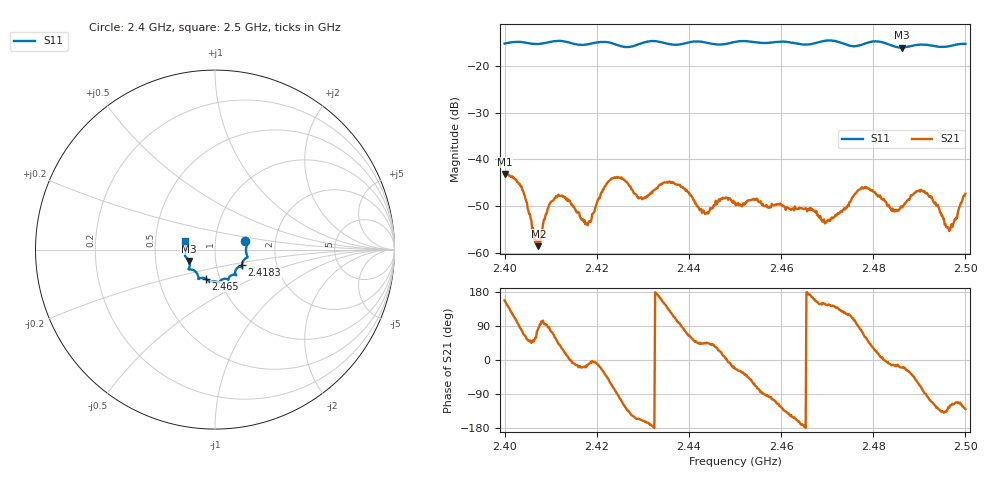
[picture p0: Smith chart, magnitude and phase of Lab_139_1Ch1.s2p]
# Hz S RI R 50
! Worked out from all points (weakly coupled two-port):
!   601 points, 2.4 GHz to 2.5 GHz, reference 50 ohm
!   highest |S21| = -43.16 dB at 2.4 GHz (marker M1); lowest = -58.6 dB at 2.4073 GHz (marker M2)
!   lowest |S11| = -16.0 dB at 2.4862 GHz (marker M3), VSWR 1.37, Z = 37.1 - j4.8 ohm
!   |S11| at or under -10 dB: start of sweep to end of sweep
!   S12 and S22 are empty: the file has one direction only
!   S11 on the Smith chart (normalised r, x): 2.4 GHz: 1.40, +0.13; 2.4183 GHz: 1.33, -0.24; 2.465 GHz: 0.86, -0.29; 2.5 GHz: 0.71, +0.07
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2.4e9  0.1687 0.0455  -0.00642 0.00267  0 0  0 0
2.403667e9  0.1791 0.0292  0.00101 0.00505  0 0  0 0
2.407333e9  0.1728 -0.00746  0.000105 0.00117  0 0  0 0
2.4095e9  0.1775 -0.0313  0.00024 0.00305  0 0  0 0
2.411333e9  0.1819 -0.0402  0.00245 0.00306  0 0  0 0
2.416667e9  0.1547 -0.0684  0.00212 -0.00077  0 0  0 0
2.418333e9  0.1497 -0.087  0.00214 -0.00038  0 0  0 0
2.423333e9  0.1472 -0.0969  0.00238 -0.00578  0 0  0 0
2.4295e9  0.113 -0.1334  -0.00359 -0.00149  0 0  0 0
2.433333e9  0.1168 -0.1413  -0.00502 0.00095  0 0  0 0
2.438167e9  0.0812 -0.1512  -0.000262 0.00514  0 0  0 0
2.443333e9  0.0707 -0.1661  0.00193 0.00191  0 0  0 0
2.45e9  0.0251 -0.1806  0.00321 -0.00126  0 0  0 0
2.465e9  -0.0529 -0.162  -0.00294 -0.0002  0 0  0 0
2.466667e9  -0.0714 -0.1574  -0.00281 0.000699  0 0  0 0
2.47e9  -0.0921 -0.1641  -0.00178 0.00127  0 0  0 0
2.478e9  -0.1328 -0.1114  0.00208 0.00447  0 0  0 0
2.483333e9  -0.1421 -0.0958  0.00321 -0.000496  0 0  0 0
2.486167e9  -0.1447 -0.0631  0.00294 -0.00106  0 0  0 0
2.490833e9  -0.1671 -0.0337  0.000643 -0.00447  0 0  0 0
2.496333e9  -0.1621 0.0204  -0.00101 -0.0015  0 0  0 0
2.5e9  -0.1666 0.0473  -0.00273 -0.0033  0 0  0 0
